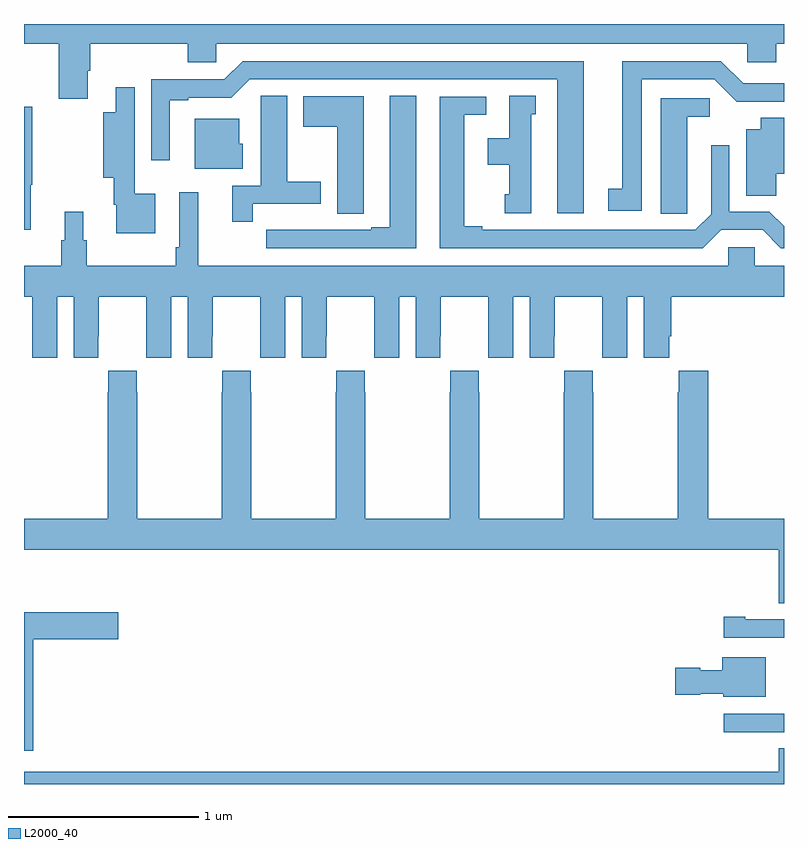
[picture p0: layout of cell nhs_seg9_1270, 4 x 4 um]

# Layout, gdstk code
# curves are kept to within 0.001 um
import gdstk
lib = gdstk.Library(unit=1e-6, precision=1e-09)
def R(c, l, rs):  # rectangles x0, y0, x1, y1
    for r in rs: c.add(gdstk.rectangle(r[:2], r[2:], *l))
def P(c, l, *ps):  # polygons
    for p in ps: c.add(gdstk.Polygon(p, *l))
L2000_40 = (2000, 40)

nhs_seg9_1270 = lib.new_cell('nhs_seg9_1270')
R(nhs_seg9_1270, L2000_40, [(184.683,1216.773,185,1216.869)])
P(nhs_seg9_1270, L2000_40, [(181.336,1220.254),(181.349,1220.254),(181.349,1220.396),(181.862,1220.396),(181.862,1220.298),(182.013,1220.298),(182.013,1220.396),(184.806,1220.396),(184.806,1220.298),(184.958,1220.298),(184.958,1220.396),(185,1220.396),(185,1220.5),(181,1220.5),(181,1220.396),(181.184,1220.396),(181.184,1220.106),(181.336,1220.106)],
  [(183.946,1220.304),(182.151,1220.304),(182.055,1220.208),(181.671,1220.208),(181.671,1219.782),(181.768,1219.782),(181.768,1220.1),(181.864,1220.1),(181.864,1220.112),(182.091,1220.112),(182.187,1220.208),(183.806,1220.208),(183.806,1219.503),(183.946,1219.503)],
  [(184.252,1220.208),(184.632,1220.208),(184.75,1220.09),(185,1220.091),(185,1220.187),(184.785,1220.187),(184.668,1220.304),(184.148,1220.304),(184.148,1219.634),(184.074,1219.634),(184.074,1219.518),(184.252,1219.518)],
  [(181.69,1219.606),(181.584,1219.606),(181.584,1219.931),(181.582,1219.931),(181.582,1220.167),(181.484,1220.167),(181.484,1220.035),(181.417,1220.035),(181.417,1219.691),(181.473,1219.691),(181.473,1219.55),(181.485,1219.55),(181.485,1219.4),(181.69,1219.4)],
  [(183.67,1220.025),(183.694,1220.025),(183.694,1220.123),(183.554,1220.123),(183.554,1219.9),(183.44,1219.9),(183.44,1219.76),(183.554,1219.76),(183.554,1219.605),(183.53,1219.605),(183.53,1219.503),(183.67,1219.503)],
  [(183.064,1220.123),(182.924,1220.123),(182.924,1219.431),(182.828,1219.431),(182.828,1219.416),(182.552,1219.416),(182.552,1219.417),(182.386,1219.417),(182.386,1219.416),(182.274,1219.416),(182.274,1219.32),(183.064,1219.32)],
  [(182.204,1219.554),(182.563,1219.554),(182.563,1219.671),(182.386,1219.671),(182.386,1220.123),(182.247,1220.123),(182.247,1220.012),(182.246,1220.012),(182.246,1219.65),(182.096,1219.65),(182.096,1219.458),(182.204,1219.458)],
  [(182.787,1219.609),(182.788,1219.609),(182.788,1220.119),(182.471,1220.119),(182.471,1219.96),(182.648,1219.96),(182.648,1219.501),(182.787,1219.501)],
  [(184.669,1219.416),(184.887,1219.416),(184.983,1219.32),(185,1219.32),(185,1219.435),(184.923,1219.512),(184.713,1219.512),(184.713,1219.861),(184.617,1219.861),(184.617,1219.5),(184.533,1219.416),(183.412,1219.416),(183.412,1219.436),(183.316,1219.436),(183.316,1220.022),(183.433,1220.022),(183.433,1220.118),(183.188,1220.118),(183.188,1219.32),(184.573,1219.32)],
  [(184.491,1219.609),(184.492,1219.609),(184.492,1220.012),(184.609,1220.012),(184.609,1220.109),(184.352,1220.109),(184.352,1219.501),(184.491,1219.501)],
  [(181.036,1219.655),(181.044,1219.655),(181.044,1220.065),(181,1220.065),(181,1219.416),(181.036,1219.416)],
  [(184.96,1219.712),(185,1219.712),(185,1220.006),(184.877,1220.006),(184.877,1219.945),(184.802,1219.945),(184.802,1219.597),(184.96,1219.597)],
  [(182.152,1219.869),(182.134,1219.869),(182.134,1220.002),(181.898,1220.002),(181.898,1219.739),(182.152,1219.739)],
  [(181.174,1219.064),(181.262,1219.064),(181.262,1218.744),(181.392,1218.744),(181.392,1218.856),(181.393,1218.856),(181.393,1219.064),(181.643,1219.064),(181.643,1218.856),(181.644,1218.856),(181.644,1218.744),(181.774,1218.744),(181.774,1219.064),(181.862,1219.064),(181.862,1218.744),(181.992,1218.744),(181.992,1218.856),(181.993,1218.856),(181.993,1219.064),(182.243,1219.064),(182.243,1218.856),(182.244,1218.856),(182.244,1218.744),(182.374,1218.744),(182.374,1219.064),(182.462,1219.064),(182.462,1218.744),(182.592,1218.744),(182.592,1218.856),(182.593,1218.856),(182.593,1219.064),(182.843,1219.064),(182.843,1218.856),(182.844,1218.856),(182.844,1218.744),(182.974,1218.744),(182.974,1219.064),(183.062,1219.064),(183.062,1218.744),(183.192,1218.744),(183.192,1218.856),(183.193,1218.856),(183.193,1219.064),(183.443,1219.064),(183.443,1218.856),(183.444,1218.856),(183.444,1218.744),(183.574,1218.744),(183.574,1219.064),(183.662,1219.064),(183.662,1218.744),(183.792,1218.744),(183.792,1218.856),(183.793,1218.856),(183.793,1219.064),(184.043,1219.064),(184.043,1218.856),(184.044,1218.856),(184.044,1218.744),(184.174,1218.744),(184.174,1219.064),(184.262,1219.064),(184.262,1218.744),(184.396,1218.744),(184.396,1218.856),(184.406,1218.856),(184.406,1219.064),(185,1219.064),(185,1219.228),(184.845,1219.228),(184.845,1219.326),(184.707,1219.326),(184.707,1219.228),(181.916,1219.228),(181.916,1219.615),(181.818,1219.615),(181.818,1219.324),(181.798,1219.324),(181.798,1219.228),(181.331,1219.228),(181.331,1219.362),(181.312,1219.362),(181.312,1219.513),(181.214,1219.513),(181.214,1219.362),(181.195,1219.362),(181.195,1219.228),(181,1219.228),(181,1219.064),(181.043,1219.064),(181.043,1218.856),(181.044,1218.856),(181.044,1218.744),(181.174,1218.744)],
  [(181.593,1218.563),(181.593,1218.676),(181.443,1218.676),(181.443,1218.563),(181.441,1218.563),(181.441,1217.896),(181,1217.896),(181,1217.732),(184.973,1217.732),(184.973,1217.452),(185,1217.452),(185,1217.896),(184.601,1217.896),(184.601,1218.676),(184.447,1218.676),(184.447,1218.563),(184.441,1218.563),(184.441,1217.896),(183.996,1217.896),(183.996,1218.563),(183.993,1218.563),(183.993,1218.676),(183.843,1218.676),(183.843,1218.563),(183.841,1218.563),(183.841,1217.896),(183.396,1217.896),(183.396,1218.563),(183.393,1218.563),(183.393,1218.676),(183.243,1218.676),(183.243,1218.563),(183.241,1218.563),(183.241,1217.896),(182.796,1217.896),(182.796,1218.563),(182.793,1218.563),(182.793,1218.676),(182.643,1218.676),(182.643,1218.563),(182.641,1218.563),(182.641,1217.896),(182.196,1217.896),(182.196,1218.563),(182.193,1218.563),(182.193,1218.676),(182.043,1218.676),(182.043,1218.563),(182.041,1218.563),(182.041,1217.896),(181.596,1217.896),(181.596,1218.563)],
  [(181.049,1217.261),(181.495,1217.261),(181.495,1217.403),(181,1217.403),(181,1216.674),(181.049,1216.674)],
  [(185,1217.367),(184.795,1217.367),(184.795,1217.38),(184.683,1217.38),(184.683,1217.271),(185,1217.271)],
  [(184.903,1217.167),(184.676,1217.167),(184.676,1217.098),(184.56,1217.098),(184.56,1217.111),(184.428,1217.111),(184.428,1216.969),(184.56,1216.969),(184.56,1216.976),(184.68,1216.976),(184.68,1216.958),(184.903,1216.958)],
  [(185,1216.688),(184.973,1216.688),(184.973,1216.564),(181,1216.564),(181,1216.5),(185,1216.5)])

lib.write_gds('nhs_seg9_1270.gds')
